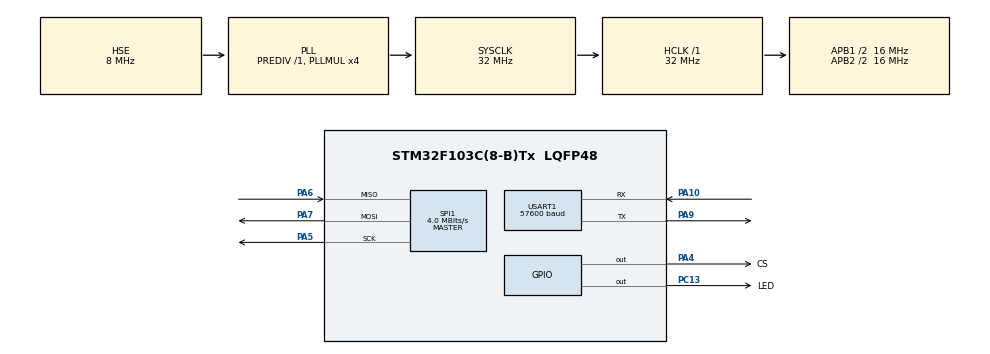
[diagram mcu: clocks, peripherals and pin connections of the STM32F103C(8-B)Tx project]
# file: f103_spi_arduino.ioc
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Mcu.Family=STM32F1
RCC.PLLSourceVirtual=RCC_PLLSOURCE_HSE
PA6.Mode=Full_Duplex_Master
PA7.Mode=Full_Duplex_Master
PD1-OSC_OUT.Mode=HSE-External-Oscillator
PA10.Mode=Asynchronous
SPI1.VirtualType=VM_MASTER
USART1.BaudRate=57600
PC13-TAMPER-RTC.Signal=GPIO_Output
PD0-OSC_IN.Signal=RCC_OSC_IN
RCC.APB1CLKDivider=RCC_HCLK_DIV2
RCC.SYSCLKSource=RCC_SYSCLKSOURCE_PLLCLK
ProjectManager.StackSize=0x400
PD1-OSC_OUT.Signal=RCC_OSC_OUT
PA13.Signal=SYS_JTMS-SWDIO
PA9.Mode=Asynchronous
ProjectManager.TargetToolchain=STM32CubeIDE
SPI1.Direction=SPI_DIRECTION_2LINES
RCC.HCLKFreq_Value=32000000
RCC.APB2TimFreq_Value=32000000
PA9.Signal=USART1_TX
SPI1.CalculateBaudRate=4.0 MBits/s
RCC.USBFreq_Value=32000000
RCC.AHBFreq_Value=32000000
PD0-OSC_IN.Mode=HSE-External-Oscillator
PA5.Signal=SPI1_SCK
board=custom
PC13-TAMPER-RTC.GPIO_Label=LED
RCC.PLLMUL=RCC_PLL_MUL4
PA4.GPIO_Speed=GPIO_SPEED_FREQ_MEDIUM
NVIC.SPI1_IRQn=true\:0\:0\:false\:false\:true\:true\:true
RCC.APB2Freq_Value=16000000
SPI1.Mode=SPI_MODE_MASTER
PA14.Mode=Serial_Wire
PA13.Mode=Serial_Wire
Mcu.Name=STM32F103C(8-B)Tx
PA4.Signal=GPIO_Output
RCC.SYSCLKFreq_VALUE=32000000
Mcu.Package=LQFP48
PA6.Signal=SPI1_MISO
USART1.VirtualMode=VM_ASYNC
PA10.Signal=USART1_RX
PA14.Signal=SYS_JTCK-SWCLK
ProjectManager.HeapSize=0x200
NVIC.PriorityGroup=NVIC_PRIORITYGROUP_4
RCC.APB2CLKDivider=RCC_HCLK_DIV2
RCC.APB1TimFreq_Value=32000000
RCC.APB1Freq_Value=16000000
SPI1.BaudRatePrescaler=SPI_BAUDRATEPRESCALER_4
PA4.GPIO_Label=CS
PA5.Mode=Full_Duplex_Master
PA7.Signal=SPI1_MOSI

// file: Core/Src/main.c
/* USER CODE BEGIN Header */
/**
  ******************************************************************************
  * @file           : main.c
  * @brief          : Main program body
  ******************************************************************************
  * @attention
  *
  * <h2><center>&copy; Copyright (c) 2021 STMicroelectronics.
  * All rights reserved.</center></h2>
  *
  * This software component is licensed by ST under BSD 3-Clause license,
  * the "License"; You may not use this file except in compliance with the
  * License. You may obtain a copy of the License at:
  *                        opensource.org/licenses/BSD-3-Clause
  *
  ******************************************************************************
  */
/* USER CODE END Header */
#include "main.h"

/* USER CODE BEGIN Includes */
#include "stdio.h"
#include "string.h"
/* USER CODE END Includes */

/* USER CODE BEGIN PD */
#define msg_SIZE 50

/* USER CODE END PD */

SPI_HandleTypeDef hspi1;

UART_HandleTypeDef huart1;

void SystemClock_Config(void);
static void MX_GPIO_Init(void);
static void MX_SPI1_Init(void);
static void MX_USART1_UART_Init(void);

/* USER CODE BEGIN 0 */
static char UART_msg_TX[msg_SIZE]; // массив для формирования сообщений для вывода по UART
uint8_t SPI_msg [20]; // массив для сообщений SPI
uint8_t point = 0xCA;
/* USER CODE END 0 */

int main(void)
{

  /* MCU Configuration--------------------------------------------------------*/

  /* Reset of all peripherals, Initializes the Flash interface and the Systick. */
  HAL_Init();

  /* Configure the system clock */
  SystemClock_Config();

  /* Initialize all configured peripherals */
  MX_GPIO_Init();
  MX_SPI1_Init();
  MX_USART1_UART_Init();
  /* USER CODE BEGIN 2 */
  HAL_GPIO_WritePin(LED_GPIO_Port, LED_Pin, ENABLE);
  sprintf (UART_msg_TX, "ARDUINO_connect\r\n");
  HAL_UART_Transmit (&huart1, (uint8_t*)UART_msg_TX, strlen(UART_msg_TX), 0xFF);
  /* USER CODE END 2 */

  /* Infinite loop */
  while (1)
  {

    /* USER CODE BEGIN 3 */
	  HAL_GPIO_TogglePin (LED_GPIO_Port, LED_Pin);
	  CS_ON;
	  HAL_SPI_TransmitReceive(&hspi1, &point, &SPI_msg, 1, 5000);
	  HAL_SPI_TransmitReceive(&hspi1, &point, &SPI_msg, 2, 5000);
	  sprintf (UART_msg_TX,  "ADC = %hu\n\r", (uint16_t)SPI_msg[0]);
	  HAL_UART_Transmit(&huart1, (uint8_t*)UART_msg_TX, strlen(UART_msg_TX), 0xFF);
	  CS_OFF;
	  HAL_Delay (500);
  }
  /* USER CODE END 3 */
}

void SystemClock_Config(void)
{
  RCC_OscInitTypeDef RCC_OscInitStruct = {0};
  RCC_ClkInitTypeDef RCC_ClkInitStruct = {0};

  /** Initializes the RCC Oscillators according to the specified parameters
  * in the RCC_OscInitTypeDef structure.
  */
  RCC_OscInitStruct.OscillatorType = RCC_OSCILLATORTYPE_HSE;
  RCC_OscInitStruct.HSEState = RCC_HSE_ON;
  RCC_OscInitStruct.HSEPredivValue = RCC_HSE_PREDIV_DIV1;
  RCC_OscInitStruct.HSIState = RCC_HSI_ON;
  RCC_OscInitStruct.PLL.PLLState = RCC_PLL_ON;
  RCC_OscInitStruct.PLL.PLLSource = RCC_PLLSOURCE_HSE;
  RCC_OscInitStruct.PLL.PLLMUL = RCC_PLL_MUL4;
  if (HAL_RCC_OscConfig(&RCC_OscInitStruct) != HAL_OK)
  {
    Error_Handler();
  }
  /** Initializes the CPU, AHB and APB buses clocks
  */
  RCC_ClkInitStruct.ClockType = RCC_CLOCKTYPE_HCLK|RCC_CLOCKTYPE_SYSCLK
                              |RCC_CLOCKTYPE_PCLK1|RCC_CLOCKTYPE_PCLK2;
  RCC_ClkInitStruct.SYSCLKSource = RCC_SYSCLKSOURCE_PLLCLK;
  RCC_ClkInitStruct.AHBCLKDivider = RCC_SYSCLK_DIV1;
  RCC_ClkInitStruct.APB1CLKDivider = RCC_HCLK_DIV2;
  RCC_ClkInitStruct.APB2CLKDivider = RCC_HCLK_DIV2;

  if (HAL_RCC_ClockConfig(&RCC_ClkInitStruct, FLASH_LATENCY_1) != HAL_OK)
  {
    Error_Handler();
  }
}

static void MX_SPI1_Init(void)
{

  /* SPI1 parameter configuration*/
  hspi1.Instance = SPI1;
  hspi1.Init.Mode = SPI_MODE_MASTER;
  hspi1.Init.Direction = SPI_DIRECTION_2LINES;
  hspi1.Init.DataSize = SPI_DATASIZE_8BIT;
  hspi1.Init.CLKPolarity = SPI_POLARITY_LOW;
  hspi1.Init.CLKPhase = SPI_PHASE_1EDGE;
  hspi1.Init.NSS = SPI_NSS_SOFT;
  hspi1.Init.BaudRatePrescaler = SPI_BAUDRATEPRESCALER_4;
  hspi1.Init.FirstBit = SPI_FIRSTBIT_MSB;
  hspi1.Init.TIMode = SPI_TIMODE_DISABLE;
  hspi1.Init.CRCCalculation = SPI_CRCCALCULATION_DISABLE;
  hspi1.Init.CRCPolynomial = 10;
  if (HAL_SPI_Init(&hspi1) != HAL_OK)
  {
    Error_Handler();
  }

}

static void MX_USART1_UART_Init(void)
{

  huart1.Instance = USART1;
  huart1.Init.BaudRate = 57600;
  huart1.Init.WordLength = UART_WORDLENGTH_8B;
  huart1.Init.StopBits = UART_STOPBITS_1;
  huart1.Init.Parity = UART_PARITY_NONE;
  huart1.Init.Mode = UART_MODE_TX_RX;
  huart1.Init.HwFlowCtl = UART_HWCONTROL_NONE;
  huart1.Init.OverSampling = UART_OVERSAMPLING_16;
  if (HAL_UART_Init(&huart1) != HAL_OK)
  {
    Error_Handler();
  }

}

static void MX_GPIO_Init(void)
{
  GPIO_InitTypeDef GPIO_InitStruct = {0};

  /* GPIO Ports Clock Enable */
  __HAL_RCC_GPIOC_CLK_ENABLE();
  __HAL_RCC_GPIOD_CLK_ENABLE();
  __HAL_RCC_GPIOA_CLK_ENABLE();

  /*Configure GPIO pin Output Level */
  HAL_GPIO_WritePin(LED_GPIO_Port, LED_Pin, GPIO_PIN_RESET);

  /*Configure GPIO pin Output Level */
  HAL_GPIO_WritePin(CS_GPIO_Port, CS_Pin, GPIO_PIN_RESET);

  /*Configure GPIO pin : LED_Pin */
  GPIO_InitStruct.Pin = LED_Pin;
  GPIO_InitStruct.Mode = GPIO_MODE_OUTPUT_PP;
  GPIO_InitStruct.Pull = GPIO_NOPULL;
  GPIO_InitStruct.Speed = GPIO_SPEED_FREQ_LOW;
  HAL_GPIO_Init(LED_GPIO_Port, &GPIO_InitStruct);

  /*Configure GPIO pin : CS_Pin */
  GPIO_InitStruct.Pin = CS_Pin;
  GPIO_InitStruct.Mode = GPIO_MODE_OUTPUT_PP;
  GPIO_InitStruct.Pull = GPIO_NOPULL;
  GPIO_InitStruct.Speed = GPIO_SPEED_FREQ_MEDIUM;
  HAL_GPIO_Init(CS_GPIO_Port, &GPIO_InitStruct);

}

void Error_Handler(void)
{
  __disable_irq();
  while (1)
  {
  }
}

/************************ (C) COPYRIGHT STMicroelectronics *****END OF FILE****/
